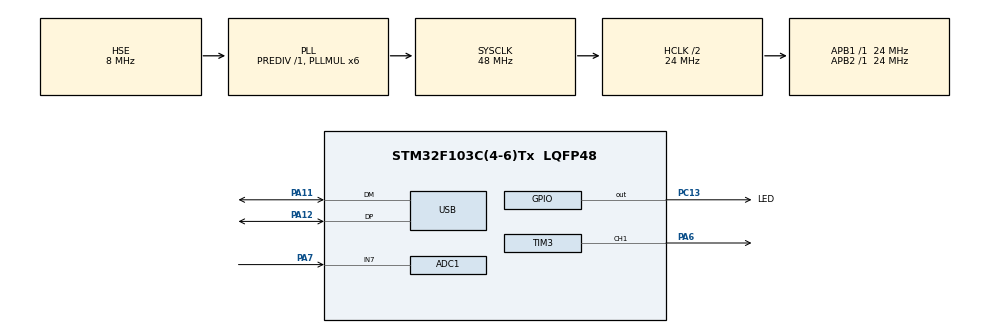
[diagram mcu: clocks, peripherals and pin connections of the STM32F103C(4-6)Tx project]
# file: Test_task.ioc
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Mcu.Family=STM32F1
USB_DEVICE.CLASS_NAME_FS=CDC
Dma.ADC1.0.Instance=DMA1_Channel1
PD1-OSC_OUT.Mode=HSE-External-Oscillator
ADC1.ContinuousConvMode=DISABLE
USB_DEVICE.VirtualModeFS=Cdc_FS
PC13-TAMPER-RTC.Signal=GPIO_Output
PA11.Mode=Device
PD0-OSC_IN.Signal=RCC_OSC_IN
RCC.SYSCLKSource=RCC_SYSCLKSOURCE_PLLCLK
ProjectManager.StackSize=0x400
PD1-OSC_OUT.Signal=RCC_OSC_OUT
PA13.Signal=SYS_JTMS-SWDIO
Dma.ADC1.0.PeriphDataAlignment=DMA_PDATAALIGN_HALFWORD
PA12.Signal=USB_DP
ProjectManager.TargetToolchain=MDK-ARM V5.27
Dma.ADC1.0.Mode=DMA_NORMAL
SH.ADCx_IN7.0=ADC1_IN7,IN7
ADC1.Channel-2\#ChannelInjectedConversion=ADC_CHANNEL_VREFINT
RCC.HCLKFreq_Value=24000000
VP_USB_DEVICE_VS_USB_DEVICE_CDC_FS.Mode=CDC_FS
Dma.ADC1.0.Priority=DMA_PRIORITY_LOW
RCC.APB2TimFreq_Value=24000000
TIM3.Period=4096
ADC1.InjectedOffset-2\#ChannelInjectedConversion=0
ADC1.Channel-1\#ChannelRegularConversion=ADC_CHANNEL_7
Dma.ADC1.0.Direction=DMA_PERIPH_TO_MEMORY
ADC1.InjNumberOfConversion=1
RCC.USBFreq_Value=48000000
Dma.ADC1.0.MemDataAlignment=DMA_MDATAALIGN_HALFWORD
RCC.AHBFreq_Value=24000000
TIM3.Channel-PWM\ Generation1\ CH1=TIM_CHANNEL_1
PD0-OSC_IN.Mode=HSE-External-Oscillator
board=custom
PC13-TAMPER-RTC.GPIO_Label=LED
RCC.PLLMUL=RCC_PLL_MUL6
VP_ADC1_Vref_Input.Mode=IN-Vrefint
RCC.APB2Freq_Value=24000000
USB_DEVICE.USBD_SELF_POWERED=1
VP_TIM2_VS_ClockSourceINT.Mode=Internal
PA14.Mode=Serial_Wire
Dma.ADC1.0.PeriphInc=DMA_PINC_DISABLE
NVIC.USB_LP_CAN1_RX0_IRQn=true\:0\:0\:false\:false\:true\:false\:true
NVIC.TIM2_IRQn=true\:0\:0\:false\:false\:true\:true\:true
RCC.AHBCLKDivider=RCC_SYSCLK_DIV2
SH.S_TIM3_CH1.0=TIM3_CH1,PWM Generation1 CH1
TIM2.Period=99
ADC1.NbrOfConversion=1
PA13.Mode=Serial_Wire
Mcu.Name=STM32F103C(4-6)Tx
ADC1.SamplingTime-1\#ChannelRegularConversion=ADC_SAMPLETIME_1CYCLE_5
RCC.SYSCLKFreq_VALUE=48000000
Mcu.Package=LQFP48
TIM2.Prescaler=23
PA6.Signal=S_TIM3_CH1
ADC1.master=1
ADC1.EnableInjectedConversion=ENABLE
PA12.Mode=Device
ADC1.Rank-2\#ChannelInjectedConversion=1
ADC1.Rank-1\#ChannelRegularConversion=1
PA11.Signal=USB_DM
PA14.Signal=SYS_JTCK-SWCLK
Dma.ADC1.0.MemInc=DMA_MINC_ENABLE
ProjectManager.HeapSize=0x200
NVIC.PriorityGroup=NVIC_PRIORITYGROUP_4
ADC1.NbrOfConversionFlag=1
ADC1.EnableRegularConversion=ENABLE
RCC.APB1TimFreq_Value=24000000
NVIC.DMA1_Channel1_IRQn=true\:0\:0\:false\:false\:true\:false\:true
Dma.Request0=ADC1
RCC.APB1Freq_Value=24000000
ADC1.SamplingTime-2\#ChannelInjectedConversion=ADC_SAMPLETIME_1CYCLE_5
USB_DEVICE.VirtualMode=Cdc
VP_TIM3_VS_ClockSourceINT.Mode=Internal
PA7.Signal=ADCx_IN7

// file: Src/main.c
/* USER CODE BEGIN Header */
/**
  ******************************************************************************
  * @file           : main.c
  * @brief          : Main program body
  ******************************************************************************
  * @attention
  *
  * <h2><center>&copy; Copyright (c) 2020 STMicroelectronics.
  * All rights reserved.</center></h2>
  *
  * This software component is licensed by ST under Ultimate Liberty license
  * SLA0044, the "License"; You may not use this file except in compliance with
  * the License. You may obtain a copy of the License at:
  *                             www.st.com/SLA0044
  *
  ******************************************************************************
  */
/* USER CODE END Header */

#include "main.h"
#include "usb_device.h"

ADC_HandleTypeDef hadc1;
DMA_HandleTypeDef hdma_adc1;

TIM_HandleTypeDef htim2;
TIM_HandleTypeDef htim3;

/* USER CODE BEGIN PV */
//volatile uint16_t My_timer = 0;
volatile uint16_t Buffer[100];
//uint8_t Str[10];
//uint8_t Len;

/* USER CODE END PV */

void SystemClock_Config(void);
static void MX_GPIO_Init(void);
static void MX_DMA_Init(void);
static void MX_ADC1_Init(void);
static void MX_TIM2_Init(void);
static void MX_TIM3_Init(void);
/* USER CODE BEGIN PFP */
uint8_t Convert (uint16_t value, uint8_t* buffer);

/* USER CODE END PFP */

int main(void)
{

  /* MCU Configuration--------------------------------------------------------*/

  /* Reset of all peripherals, Initializes the Flash interface and the Systick. */
  HAL_Init();

  /* Configure the system clock */
  SystemClock_Config();

  /* Initialize all configured peripherals */
  MX_GPIO_Init();
  MX_DMA_Init();
  MX_ADC1_Init();
  MX_TIM2_Init();
  MX_TIM3_Init();
  MX_USB_DEVICE_Init();
  /* USER CODE BEGIN 2 */
	ADC_Enable(&hadc1);
	SET_BIT(hadc1.Instance->CR2, ADC_CR2_DMA);

	HAL_DMA_Start_IT (&hdma_adc1, (uint32_t)&hadc1.Instance->DR, (uint32_t)&Buffer, 100);

	HAL_TIM_Base_Start_IT(&htim2);
	HAL_TIM_Base_Start_IT(&htim3);

  /* USER CODE END 2 */

  /* Infinite loop */
  while (1)
  {

    /* USER CODE BEGIN 3 */

		// Timer2 interrupt starts ADC conversion every 100 us (10 kHZ)
		// Every 100 conversions DMA interrupt appears  (100 Hz)

		// Every 100 iterations message to VCP forms

		// All actions are processed in interrupt handlers
	}
  /* USER CODE END 3 */
}

void SystemClock_Config(void)
{
  RCC_OscInitTypeDef RCC_OscInitStruct = {0};
  RCC_ClkInitTypeDef RCC_ClkInitStruct = {0};
  RCC_PeriphCLKInitTypeDef PeriphClkInit = {0};

  /** Initializes the CPU, AHB and APB busses clocks
  */
  RCC_OscInitStruct.OscillatorType = RCC_OSCILLATORTYPE_HSE;
  RCC_OscInitStruct.HSEState = RCC_HSE_ON;
  RCC_OscInitStruct.HSEPredivValue = RCC_HSE_PREDIV_DIV1;
  RCC_OscInitStruct.HSIState = RCC_HSI_ON;
  RCC_OscInitStruct.PLL.PLLState = RCC_PLL_ON;
  RCC_OscInitStruct.PLL.PLLSource = RCC_PLLSOURCE_HSE;
  RCC_OscInitStruct.PLL.PLLMUL = RCC_PLL_MUL6;
  if (HAL_RCC_OscConfig(&RCC_OscInitStruct) != HAL_OK)
  {
    Error_Handler();
  }
  /** Initializes the CPU, AHB and APB busses clocks
  */
  RCC_ClkInitStruct.ClockType = RCC_CLOCKTYPE_HCLK|RCC_CLOCKTYPE_SYSCLK
                              |RCC_CLOCKTYPE_PCLK1|RCC_CLOCKTYPE_PCLK2;
  RCC_ClkInitStruct.SYSCLKSource = RCC_SYSCLKSOURCE_PLLCLK;
  RCC_ClkInitStruct.AHBCLKDivider = RCC_SYSCLK_DIV2;
  RCC_ClkInitStruct.APB1CLKDivider = RCC_HCLK_DIV1;
  RCC_ClkInitStruct.APB2CLKDivider = RCC_HCLK_DIV1;

  if (HAL_RCC_ClockConfig(&RCC_ClkInitStruct, FLASH_LATENCY_1) != HAL_OK)
  {
    Error_Handler();
  }
  PeriphClkInit.PeriphClockSelection = RCC_PERIPHCLK_ADC|RCC_PERIPHCLK_USB;
  PeriphClkInit.AdcClockSelection = RCC_ADCPCLK2_DIV2;
  PeriphClkInit.UsbClockSelection = RCC_USBCLKSOURCE_PLL;
  if (HAL_RCCEx_PeriphCLKConfig(&PeriphClkInit) != HAL_OK)
  {
    Error_Handler();
  }
}

static void MX_ADC1_Init(void)
{

  ADC_ChannelConfTypeDef sConfig = {0};
  ADC_InjectionConfTypeDef sConfigInjected = {0};

  /** Common config
  */
  hadc1.Instance = ADC1;
  hadc1.Init.ScanConvMode = ADC_SCAN_DISABLE;
  hadc1.Init.ContinuousConvMode = DISABLE;
  hadc1.Init.DiscontinuousConvMode = DISABLE;
  hadc1.Init.ExternalTrigConv = ADC_SOFTWARE_START;
  hadc1.Init.DataAlign = ADC_DATAALIGN_RIGHT;
  hadc1.Init.NbrOfConversion = 1;
  if (HAL_ADC_Init(&hadc1) != HAL_OK)
  {
    Error_Handler();
  }
  /** Configure Regular Channel
  */
  sConfig.Channel = ADC_CHANNEL_7;
  sConfig.Rank = ADC_REGULAR_RANK_1;
  sConfig.SamplingTime = ADC_SAMPLETIME_1CYCLE_5;
  if (HAL_ADC_ConfigChannel(&hadc1, &sConfig) != HAL_OK)
  {
    Error_Handler();
  }
  /** Configure Injected Channel
  */
  sConfigInjected.InjectedChannel = ADC_CHANNEL_VREFINT;
  sConfigInjected.InjectedRank = ADC_INJECTED_RANK_1;
  sConfigInjected.InjectedNbrOfConversion = 1;
  sConfigInjected.InjectedSamplingTime = ADC_SAMPLETIME_1CYCLE_5;
  sConfigInjected.ExternalTrigInjecConv = ADC_INJECTED_SOFTWARE_START;
  sConfigInjected.AutoInjectedConv = DISABLE;
  sConfigInjected.InjectedDiscontinuousConvMode = DISABLE;
  sConfigInjected.InjectedOffset = 0;
  if (HAL_ADCEx_InjectedConfigChannel(&hadc1, &sConfigInjected) != HAL_OK)
  {
    Error_Handler();
  }

}

static void MX_TIM2_Init(void)
{

  TIM_ClockConfigTypeDef sClockSourceConfig = {0};
  TIM_MasterConfigTypeDef sMasterConfig = {0};

  htim2.Instance = TIM2;
  htim2.Init.Prescaler = 23;
  htim2.Init.CounterMode = TIM_COUNTERMODE_UP;
  htim2.Init.Period = 99;
  htim2.Init.ClockDivision = TIM_CLOCKDIVISION_DIV1;
  htim2.Init.AutoReloadPreload = TIM_AUTORELOAD_PRELOAD_DISABLE;
  if (HAL_TIM_Base_Init(&htim2) != HAL_OK)
  {
    Error_Handler();
  }
  sClockSourceConfig.ClockSource = TIM_CLOCKSOURCE_INTERNAL;
  if (HAL_TIM_ConfigClockSource(&htim2, &sClockSourceConfig) != HAL_OK)
  {
    Error_Handler();
  }
  sMasterConfig.MasterOutputTrigger = TIM_TRGO_RESET;
  sMasterConfig.MasterSlaveMode = TIM_MASTERSLAVEMODE_DISABLE;
  if (HAL_TIMEx_MasterConfigSynchronization(&htim2, &sMasterConfig) != HAL_OK)
  {
    Error_Handler();
  }

}

static void MX_TIM3_Init(void)
{

  TIM_ClockConfigTypeDef sClockSourceConfig = {0};
  TIM_MasterConfigTypeDef sMasterConfig = {0};
  TIM_OC_InitTypeDef sConfigOC = {0};

  htim3.Instance = TIM3;
  htim3.Init.Prescaler = 0;
  htim3.Init.CounterMode = TIM_COUNTERMODE_UP;
  htim3.Init.Period = 4096;
  htim3.Init.ClockDivision = TIM_CLOCKDIVISION_DIV1;
  htim3.Init.AutoReloadPreload = TIM_AUTORELOAD_PRELOAD_DISABLE;
  if (HAL_TIM_Base_Init(&htim3) != HAL_OK)
  {
    Error_Handler();
  }
  sClockSourceConfig.ClockSource = TIM_CLOCKSOURCE_INTERNAL;
  if (HAL_TIM_ConfigClockSource(&htim3, &sClockSourceConfig) != HAL_OK)
  {
    Error_Handler();
  }
  if (HAL_TIM_PWM_Init(&htim3) != HAL_OK)
  {
    Error_Handler();
  }
  sMasterConfig.MasterOutputTrigger = TIM_TRGO_RESET;
  sMasterConfig.MasterSlaveMode = TIM_MASTERSLAVEMODE_DISABLE;
  if (HAL_TIMEx_MasterConfigSynchronization(&htim3, &sMasterConfig) != HAL_OK)
  {
    Error_Handler();
  }
  sConfigOC.OCMode = TIM_OCMODE_PWM1;
  sConfigOC.Pulse = 0;
  sConfigOC.OCPolarity = TIM_OCPOLARITY_HIGH;
  sConfigOC.OCFastMode = TIM_OCFAST_DISABLE;
  if (HAL_TIM_PWM_ConfigChannel(&htim3, &sConfigOC, TIM_CHANNEL_1) != HAL_OK)
  {
    Error_Handler();
  }
  HAL_TIM_MspPostInit(&htim3);

}

static void MX_DMA_Init(void)
{

  /* DMA controller clock enable */
  __HAL_RCC_DMA1_CLK_ENABLE();

  /* DMA interrupt init */
  /* DMA1_Channel1_IRQn interrupt configuration */
  HAL_NVIC_SetPriority(DMA1_Channel1_IRQn, 0, 0);
  HAL_NVIC_EnableIRQ(DMA1_Channel1_IRQn);

}

static void MX_GPIO_Init(void)
{
  GPIO_InitTypeDef GPIO_InitStruct = {0};

  /* GPIO Ports Clock Enable */
  __HAL_RCC_GPIOC_CLK_ENABLE();
  __HAL_RCC_GPIOD_CLK_ENABLE();
  __HAL_RCC_GPIOA_CLK_ENABLE();

  /*Configure GPIO pin Output Level */
  HAL_GPIO_WritePin(LED_GPIO_Port, LED_Pin, GPIO_PIN_RESET);

  /*Configure GPIO pin : LED_Pin */
  GPIO_InitStruct.Pin = LED_Pin;
  GPIO_InitStruct.Mode = GPIO_MODE_OUTPUT_PP;
  GPIO_InitStruct.Pull = GPIO_NOPULL;
  GPIO_InitStruct.Speed = GPIO_SPEED_FREQ_LOW;
  HAL_GPIO_Init(LED_GPIO_Port, &GPIO_InitStruct);

}

/* USER CODE BEGIN 4 */

/**
  * @brief Conversion from int to formatted string
	* @param value: integer to convert
  * @param buffer: target buffer
  * @retval Lenght of string
  */

uint8_t Convert(uint16_t value, uint8_t* buffer)
{
	uint8_t i;
	uint16_t digit;
	uint16_t divisor;
	uint8_t printed = 0;
	uint8_t len=0;
	uint32_t temp;

	temp = (uint32_t)value * 3300 / 4096; // converting to mV

	value = (uint16_t) temp;

	if(value)
	{
		for(i = 0, divisor = 10000; i < 5u; i++)
		{
			digit = value/divisor;
			if(digit || printed)
			{
				*buffer++ = '0' + digit;
				value -= digit*divisor;
				printed = 1;
				len++;
			}
			divisor /= 10;
		}
	}
	else
	{
		*buffer++ = '0';
		len = 1;
	}
	*buffer++ = ' ';
	*buffer++ = 'm';
	*buffer++ = 'V';
	*buffer++ = '\r';
	*buffer = 0;
	return len+4;
}

/* USER CODE END 4 */

void Error_Handler(void)
{
}

/************************ (C) COPYRIGHT STMicroelectronics *****END OF FILE****/
